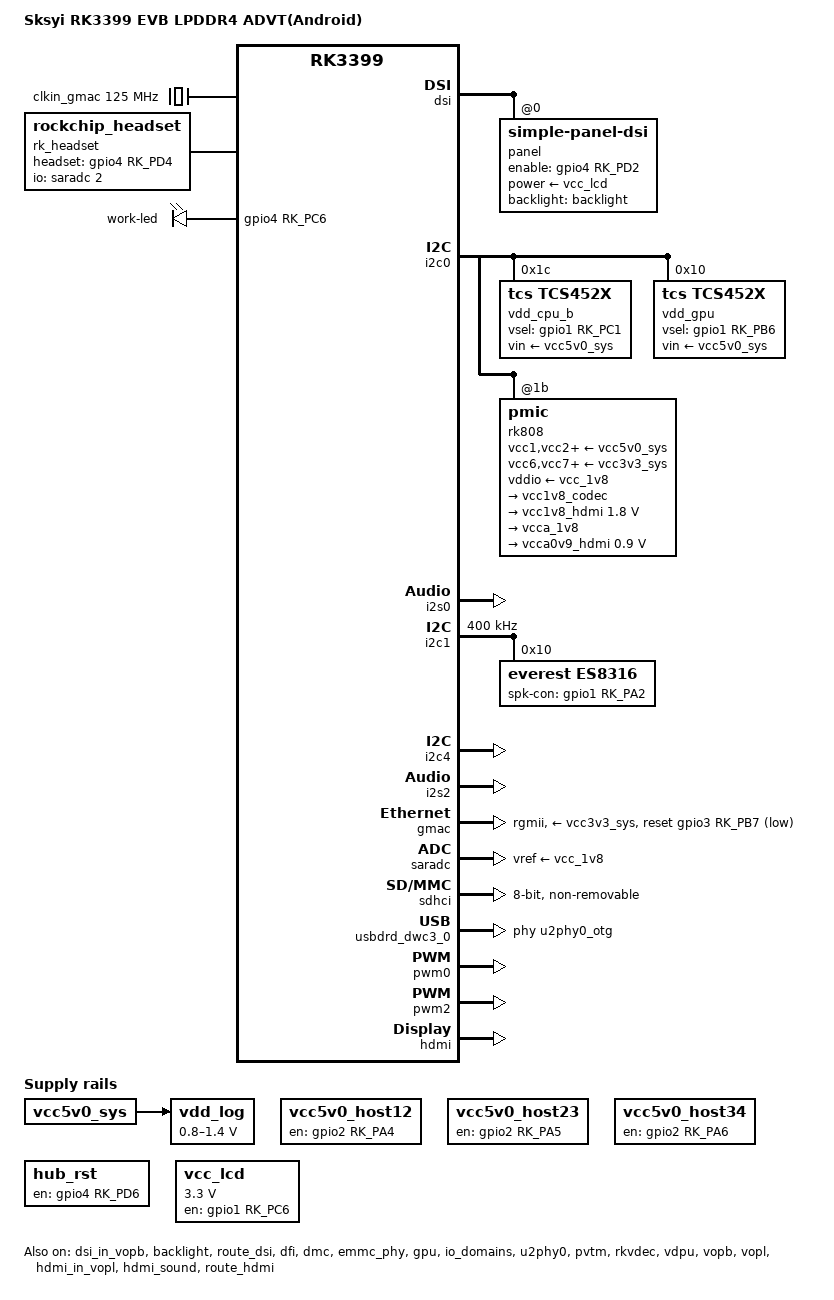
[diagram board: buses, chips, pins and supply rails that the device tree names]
// SPDX-License-Identifier: (GPL-2.0+ OR MIT)
/*
 * Copyright (c) 2018 Skysi Inc. (3399 advt.)
 *		Sanle Zheng <zsl@skysi.com>
 */

/dts-v1/;
#include <dt-bindings/pwm/pwm.h>
#include <dt-bindings/input/input.h>
#include "rk3399.dtsi"
#include "rk3399-opp.dtsi"
#include "rk3399-android.dtsi"
#include "rk3399-excavator-sapphire.dtsi"

/ {
	model = "Sksyi RK3399 EVB LPDDR4 ADVT(Android)";
	compatible = "rockchip,android", "rockchip,rk3399-evb-lp4x-advt", "rockchip,rk3399";

	chosen: chosen {
		bootargs = "earlycon=uart8250,mmio32,0xff1a0000 console=ttyFIQ0 androidboot.baseband=N/A androidboot.veritymode=enforcing androidboot.hardware=rk30board androidboot.console=ttyFIQ0 init=/init initrd=0x62000001,0x00800000 coherent_pool=1m";
	};

	/* first 64k(0xff8c0000~0xff8d0000) for ddr and suspend */
	iram: sram@ff8d0000 {
		compatible = "mmio-sram";
		reg = <0x0 0xff8d0000 0x0 0x20000>; /* 128k */
	};

	vcc5v0_sys: vcc5v0-sys {
		vin-supply = <&dc_12v>;
	};

	vcc3v3_sys: vcc3v3-sys {
		vin-supply = <&dc_12v>;
	};

    vcc5v0_host: vcc5v0-host-regulator {
		gpio = <&gpio1 RK_PA3 GPIO_ACTIVE_HIGH>;
	};

	vcc5v0_host12: vcc5v0-host-12-regulator {
		compatible = "regulator-fixed";
		enable-active-high;
		gpio = <&gpio2 RK_PA4 GPIO_ACTIVE_HIGH>;
		pinctrl-names = "default";
		pinctrl-0 = <&host_vbus_drv_12>;
		regulator-name = "vcc5v0_host12";
		regulator-always-on;
	};

	vcc5v0_host23: vcc5v0-host-23-regulator {
		compatible = "regulator-fixed";
		enable-active-high;
		gpio = <&gpio2 RK_PA5 GPIO_ACTIVE_HIGH>;
		pinctrl-names = "default";
		pinctrl-0 = <&host_vbus_drv_23>;
		regulator-name = "vcc5v0_host23";
		regulator-always-on;
	};

	vcc5v0_host34: vcc5v0-host-34-regulator {
		compatible = "regulator-fixed";
		enable-active-high;
		gpio = <&gpio2 RK_PA6 GPIO_ACTIVE_HIGH>;
		pinctrl-names = "default";
		pinctrl-0 = <&host_vbus_drv_34>;
		regulator-name = "vcc5v0_host34";
		regulator-always-on;
	};

	hub_rst: hub-rst-regulator {
		compatible = "regulator-fixed";
		gpio = <&gpio4 RK_PD6 GPIO_ACTIVE_HIGH>;
		startup-delay-us = <20000>;
		enable-active-high;
		pinctrl-names = "default";
		pinctrl-0 = <&hub_rst_h>;
		regulator-name = "hub_rst";
		regulator-always-on;
		regulator-state-mem {
			regulator-off-in-suspend;
		};
	};

	vcc_lcd: vcc-lcd {
		compatible = "regulator-fixed";
		gpio = <&gpio1 RK_PC6 GPIO_ACTIVE_HIGH>;
		startup-delay-us = <20000>;
		enable-active-high;
		pinctrl-names = "default", "sleep";
		pinctrl-0 = <&vcc_lcd_io>;
		pinctrl-1 = <&vcc_lcd_io_slp>;
		regulator-name = "vcc_lcd";
		regulator-min-microvolt = <3300000>;
		regulator-max-microvolt = <3300000>;
		regulator-boot-on;
		regulator-always-on;
		regulator-state-mem {
			regulator-off-in-suspend;
		};
	};

	vdd_log: vdd-log {
		compatible = "pwm-regulator";
		pwms = <&pwm2 0 25000 1>;
		regulator-name = "vdd_log";
		regulator-min-microvolt = <800000>;
		regulator-max-microvolt = <1400000>;
		regulator-always-on;
		regulator-boot-on;

		/* for rockchip boot on */
		rockchip,pwm_id= <2>;
		rockchip,pwm_voltage = <900000>;

		vin-supply = <&vcc5v0_sys>;
	};

	clkin_gmac: external-gmac-clock {
		compatible = "fixed-clock";
		clock-frequency = <125000000>;
		clock-output-names = "clkin_gmac";
		#clock-cells = <0>;
	};

	rk_headset: rk-headset {
		compatible = "rockchip_headset";
		headset_gpio = <&gpio4 RK_PD4 GPIO_ACTIVE_HIGH>;
		pinctrl-names = "default";
		pinctrl-0 = <&hp_det>;
		io-channels = <&saradc 2>;
	};

	es8316-sound {
		status = "okay";
		compatible = "simple-audio-card";
		simple-audio-card,format = "i2s";
		simple-audio-card,name = "rockchip,es8316-codec";
		simple-audio-card,mclk-fs = <256>;
		simple-audio-card,widgets =
			"Microphone", "Mic Jack",
			"Headphone", "Headphone Jack";
		simple-audio-card,routing =
			"Mic Jack", "MICBIAS1",
			"IN1P", "Mic Jack",
			"Headphone Jack", "HPOL",
			"Headphone Jack", "HPOR";
		simple-audio-card,cpu {
			sound-dai = <&i2s0>;
		};
		simple-audio-card,codec {
			sound-dai = <&es8316>;
		};
	};

	leds {
		compatible = "gpio-leds";
		work-led {
			gpios = <&gpio4 RK_PC6 GPIO_ACTIVE_HIGH>;
			linux,default-trigger = "heartbeat";
			default-state = "on";
		};
	};

	adc_keys {
		/delete-node/ menu-key;
		/delete-node/ home-key;
		/delete-node/ camera-key;
	};

	test-power {
		status = "okay";
	};
};

&dsi_in_vopb {
	status = "okay";
};

&dsi_in_vopl {
	status = "disabled";
};

&backlight {
	status = "okay";
	pwms = <&pwm0 0 200000 0>;
	enable-gpios = <&gpio4 RK_PD5 GPIO_ACTIVE_HIGH>;
};

&dsi {
	status = "okay";
	rockchip,lane-rate = <932>;

	panel@0 {
		status = "okay";
		compatible ="simple-panel-dsi";
		reg = <0>;
		backlight = <&backlight>;
		power-supply = <&vcc_lcd>;
		enable-gpios = <&gpio4 RK_PD2 GPIO_ACTIVE_HIGH>;
		pinctrl-names = "default", "sleep";
		pinctrl-0 = <&lcd_en>;
		pinctrl-1 = <&lcd_en_slp>;
		prepare-delay-ms = <150>;
		reset-delay-ms = <50>;
		init-delay-ms = <200>;
		dsi,flags = <(MIPI_DSI_MODE_VIDEO | MIPI_DSI_MODE_VIDEO_BURST |
				MIPI_DSI_MODE_LPM | MIPI_DSI_MODE_EOT_PACKET)>;
		dsi,format = <MIPI_DSI_FMT_RGB888>;
		dsi,lanes  = <4>;

		panel-init-sequence = [
			23 00 02 27 AA
			23 00 02 48 02
			23 00 02 B6 20
			23 00 02 01 80
			23 00 02 02 38
			23 00 02 03 47
			23 00 02 04 58
			23 00 02 05 2C
			23 00 02 06 94
			23 00 02 07 00
			23 00 02 08 04
			23 00 02 09 05
			23 00 02 0A 24
			23 00 02 0B 82
			23 00 02 0C 13
			23 00 02 0D 01
			23 00 02 0E 80
			23 00 02 0F 20
			23 00 02 10 20
			23 00 02 11 03
			23 00 02 12 1B
			23 00 02 13 63
			23 00 02 14 01
			23 00 02 15 23
			23 00 02 16 40
			23 00 02 17 00
			23 00 02 18 01
			23 00 02 19 23
			23 00 02 1A 40
			23 00 02 1B 00
			23 00 02 1E 46
			23 00 02 51 30
			23 00 02 1F 10
			23 00 02 2A 01
			23 00 02 6A 08
			23 00 02 6C 9E
			23 00 02 6D 07
			23 00 02 6E 00
			23 00 02 6F 8A
			23 00 02 70 19
			23 64 02 71 00
		];

		disp_timings0: display-timings {
			native-mode = <&dsi0_timing0>;

			dsi0_timing0: timing0 {
				clock-frequency = <148500000>;
				hactive = <1920>;
				vactive = <1080>;
				hfront-porch = <88>;
				hsync-len = <44>;
				hback-porch = <148>;
				vfront-porch = <4>;
				vsync-len = <5>;
				vback-porch = <36>;
				hsync-active = <0>;
				vsync-active = <0>;
				de-active = <0>;
				pixelclk-active = <0>;
			};
		};
	};
};

&route_dsi {
	status = "okay";
	connect = <&vopb_out_dsi>;
};

&dmac_bus {
	iram = <&iram>;
	rockchip,force-iram;
};

&cdn_dp {
	status = "disabled";
	phys = <&tcphy0_dp>;
};

&cpu_l0 {
	cpu-supply = <&vdd_cpu_l>;
};

&cpu_l1 {
	cpu-supply = <&vdd_cpu_l>;
};

&cpu_l2 {
	cpu-supply = <&vdd_cpu_l>;
};

&cpu_l3 {
	cpu-supply = <&vdd_cpu_l>;
};

&cpu_b0 {
	cpu-supply = <&vdd_cpu_b>;
};

&cpu_b1 {
	cpu-supply = <&vdd_cpu_b>;
};

&dp_in_vopb {
	status = "disabled";
};

&dfi {
	status = "okay";
};

&dmc {
	status = "okay";
	center-supply = <&vdd_center>;
	upthreshold = <40>;
	downdifferential = <20>;
	system-status-freq = <
		/*system status         freq(KHz)*/
		SYS_STATUS_NORMAL       856000
		SYS_STATUS_REBOOT       856000
		SYS_STATUS_SUSPEND      328000
		SYS_STATUS_VIDEO_1080P  666000
		SYS_STATUS_VIDEO_4K     856000
		SYS_STATUS_VIDEO_4K_10B 856000
		SYS_STATUS_PERFORMANCE  856000
		SYS_STATUS_BOOST        856000
		SYS_STATUS_DUALVIEW     856000
		SYS_STATUS_ISP          856000
	>;
	vop-bw-dmc-freq = <
	/* min_bw(MB/s) max_bw(MB/s) freq(KHz) */
		0       762      416000
		763     3012     666000
		3013    99999    856000
	>;

	vop-pn-msch-readlatency = <
		0	0x20
		4	0x20
	>;

	auto-min-freq = <328000>;
	auto-freq-en = <0>;
};

&dmc_opp_table {
		compatible = "operating-points-v2";

		opp-200000000 {
			opp-hz = /bits/ 64 <200000000>;
			opp-microvolt = <900000>;
			status = "disabled";
		};
		opp-300000000 {
			opp-hz = /bits/ 64 <300000000>;
			opp-microvolt = <900000>;
			status = "disabled";
		};
		opp-328000000 {
			opp-hz = /bits/ 64 <328000000>;
			opp-microvolt = <900000>;
		};
		opp-400000000 {
			opp-hz = /bits/ 64 <400000000>;
			opp-microvolt = <900000>;
			status = "disabled";
		};
		opp-416000000 {
			opp-hz = /bits/ 64 <416000000>;
			opp-microvolt = <900000>;
		};
		opp-528000000 {
			opp-hz = /bits/ 64 <528000000>;
			opp-microvolt = <900000>;
			status = "disabled";
		};
		opp-600000000 {
			opp-hz = /bits/ 64 <600000000>;
			opp-microvolt = <900000>;
			status = "disabled";
		};
		opp-666000000 {
			opp-hz = /bits/ 64 <666000000>;
			opp-microvolt = <900000>;
		};
		opp-800000000 {
			opp-hz = /bits/ 64 <800000000>;
			opp-microvolt = <900000>;
			status = "disabled";
		};
		opp-856000000 {
			opp-hz = /bits/ 64 <856000000>;
			opp-microvolt = <900000>;
		};
		opp-928000000 {
			opp-hz = /bits/ 64 <928000000>;
			opp-microvolt = <900000>;
			status = "disabled";
		};
};

&emmc_phy {
	status = "okay";
};

&i2c0 {
	/delete-node/ regulator@40;
	vdd_cpu_b: tcs452x@1c {
		compatible = "tcs,tcs452x";
		reg = <0x1c>;
		vin-supply = <&vcc5v0_sys>;
		regulator-compatible = "fan53555-reg";
		pinctrl-names = "default";
		pinctrl-0 = <&vsel1_gpio>;
		vsel-gpios = <&gpio1 RK_PC1 GPIO_ACTIVE_HIGH>;
		regulator-name = "vdd_cpu_b";
		regulator-min-microvolt = <712500>;
		regulator-max-microvolt = <1500000>;
		regulator-ramp-delay = <1000>;
		fcs,suspend-voltage-selector = <1>;
		regulator-always-on;
		regulator-boot-on;
		regulator-initial-state = <3>;
			regulator-state-mem {
			regulator-off-in-suspend;
		};
	};

	/delete-node/ regulator@41;
	vdd_gpu: tcs452x@10 {
		compatible = "tcs,tcs452x";
		reg = <0x10>;
		vin-supply = <&vcc5v0_sys>;
		regulator-compatible = "fan53555-reg";
		pinctrl-names = "default";
		pinctrl-0 = <&vsel2_gpio>;
		vsel-gpios = <&gpio1 RK_PB6 GPIO_ACTIVE_HIGH>;
		regulator-name = "vdd_gpu";
		regulator-min-microvolt = <712500>;
		regulator-max-microvolt = <1500000>;
		regulator-ramp-delay = <1000>;
		fcs,suspend-voltage-selector = <1>;
		regulator-always-on;
		regulator-boot-on;
		regulator-initial-state = <3>;
			regulator-state-mem {
			regulator-off-in-suspend;
		};
	};

	rk808: pmic@1b {
		vcc1-supply = <&vcc5v0_sys>;
		vcc2-supply = <&vcc5v0_sys>;
		vcc3-supply = <&vcc5v0_sys>;
		vcc4-supply = <&vcc5v0_sys>;
		vcc6-supply = <&vcc3v3_sys>;
		vcc7-supply = <&vcc3v3_sys>;
		vcc8-supply = <&vcc3v3_sys>;
		vcc9-supply = <&vcc3v3_sys>;
		vcc10-supply = <&vcc3v3_sys>;
		vcc11-supply = <&vcc3v3_sys>;
		vcc12-supply = <&vcc3v3_sys>;
		vddio-supply = <&vcc_1v8>;

		regulators {
			vcc1v8_codec: LDO_REG1 {
				regulator-name = "vcc1v8_codec";
			};

			vcc1v8_hdmi: LDO_REG2 {
				regulator-name = "vcc1v8_hdmi";
				regulator-min-microvolt = <1800000>;
				regulator-max-microvolt = <1800000>;
			};

			vcca_1v8: LDO_REG3 {
				regulator-name = "vcca_1v8";
			};

			vcca0v9_hdmi: LDO_REG7 {
				regulator-name = "vcca0v9_hdmi";
				regulator-min-microvolt = <900000>;
				regulator-max-microvolt = <900000>;
				regulator-state-mem {
					regulator-on-in-suspend;
					regulator-suspend-microvolt = <900000>;
				};
			};
		};
	};
};

&i2s0 {
	status = "okay";
	rockchip,i2s-broken-burst-len;
	rockchip,playback-channels = <8>;
	rockchip,capture-channels = <8>;
	#sound-dai-cells = <0>;
};

&i2c1 {
	status = "okay";
	i2c-scl-rising-time-ns = <300>;
	i2c-scl-falling-time-ns = <15>;
	clock-frequency = <400000>;

	es8316: es8316@10 {
		#sound-dai-cells = <0>;
		compatible = "everest,es8316";
		reg = <0x10>;
		clocks = <&cru SCLK_I2S_8CH_OUT>;
		clock-names = "mclk";
		pinctrl-names = "default";
		pinctrl-0 = <&i2s_8ch_mclk>;
		spk-con-gpios = <&gpio1 RK_PA2 GPIO_ACTIVE_HIGH>;
	};

	/delete-node/ rt5651;
};

&i2c4 {
	status = "okay";
	/delete-node/ fusb30x;
	/delete-node/ mpu6500_acc;
	/delete-node/ mpu6500_gyro;
};

&i2s2 {
	#sound-dai-cells = <0>;
	status = "okay";
};

&gmac {
	phy-supply = <&vcc3v3_sys>;
	phy-mode = "rgmii";
	clock_in_out = "input";
	snps,reset-gpio = <&gpio3 RK_PB7 GPIO_ACTIVE_LOW>;
	snps,reset-active-low;
	snps,reset-delays-us = <0 10000 50000>;
	assigned-clocks = <&cru SCLK_RMII_SRC>;
	assigned-clock-parents = <&clkin_gmac>;
	pinctrl-names = "default", "sleep";
	pinctrl-0 = <&rgmii_pins>;
	pinctrl-1 = <&rgmii_sleep_pins>;
	tx_delay = <0x28>;
	rx_delay = <0x20>;
	status = "okay";
};

&gpu {
	status = "okay";
	mali-supply = <&vdd_gpu>;
};

&io_domains {
	status = "okay";

	bt656-supply = <&vcc_1v8>; /* bt656_gpio2ab_ms */
	audio-supply = <&vcc_1v8>; /* audio_gpio3d4a_ms */
	gpio1830-supply = <&vcc_3v0>; /* gpio1833_gpio4cd_ms */
};

&saradc {
	status = "okay";
    vref-supply = <&vcc_1v8>;
};

&sdhci {
	bus-width = <8>;
	mmc-hs400-1_8v;
	supports-emmc;
	non-removable;
	keep-power-in-suspend;
	mmc-hs400-enhanced-strobe;
	status = "okay";
};

&spdif {
	status = "disabled";
};

&tcphy0 {
	/delete-property/ extcon;
	status = "disabled";
};

&u2phy0 {
	status = "okay";
	/delete-property/ extcon;
};

&uart0 {
	pinctrl-names = "default";
	pinctrl-0 = <&uart0_xfer &uart0_cts>;
	status = "disabled";
};

&uart2 {
	status = "disabled";
};

&usbdrd_dwc3_0 {
	extcon = <&u2phy0>;
	maximum-speed = "high-speed";
	phys = <&u2phy0_otg>;
	phy-names = "usb2-phy";
	status = "okay";
};

&pwm0 {
	status = "okay";
};

&pwm2 {
	status = "okay";
	pinctrl-names = "active";
	pinctrl-0 = <&pwm2_pin_pull_down>;
};

&pinctrl {
	gmac {
		rgmii_sleep_pins: rgmii-sleep-pins {
			rockchip,pins =
				<3 RK_PB7 RK_FUNC_GPIO &pcfg_output_low>;
		};
	};

	headphone {
		hp_det: hp-det {
			rockchip,pins =
				<4 RK_PD4 RK_FUNC_GPIO &pcfg_pull_none>;
		};
	};

	usb2 {
		host_vbus_drv: host-vbus-drv {
			rockchip,pins =
				<1 RK_PA3 RK_FUNC_GPIO &pcfg_pull_none>;
		};

		host_vbus_drv_12: host-vbus-drv-12 {
			rockchip,pins =
				<2 RK_PA4 RK_FUNC_GPIO &pcfg_pull_none>;
		};

		host_vbus_drv_23: host-vbus-drv-23 {
			rockchip,pins =
				<2 RK_PA5 RK_FUNC_GPIO &pcfg_pull_none>;
		};

		host_vbus_drv_34: host-vbus-drv-34 {
			rockchip,pins =
				<2 RK_PA6 RK_FUNC_GPIO &pcfg_pull_none>;
		};

		hub_rst_h: hub-rst-h {
			rockchip,pins =
				<4 RK_PD6 RK_FUNC_GPIO &pcfg_pull_none>;
		};
	};

	lcd-panel {
		lcd_en: lcd-en {
			rockchip,pins = <4 RK_PD2 RK_FUNC_GPIO &pcfg_pull_none>;
		};

		lcd_en_slp: lcd-en-slp {
			rockchip,pins = <4 RK_PD2 RK_FUNC_GPIO &pcfg_output_low>;
		};

		vcc_lcd_io: vcc-lcd-io {
			rockchip,pins = <1 RK_PC6 RK_FUNC_GPIO &pcfg_pull_none>;
		};

		vcc_lcd_io_slp: vcc-lcd-io-slp {
			rockchip,pins = <1 RK_PC6 RK_FUNC_GPIO &pcfg_output_low>;
		};
	};
};

&pvtm {
	status = "okay";
};

&pmu_pvtm {
	status = "okay";
};

&pmu_io_domains {
	status = "okay";
	pmu1830-supply = <&vcc_1v8>;
};

&rockchip_suspend {
	status = "okay";
	rockchip,sleep-debug-en = <0>;
	rockchip,sleep-mode-config = <
		(0
		| RKPM_SLP_ARMPD
		| RKPM_SLP_PERILPPD
		| RKPM_SLP_DDR_RET
		| RKPM_SLP_PLLPD
		| RKPM_SLP_CENTER_PD
		| RKPM_SLP_AP_PWROFF
		)
	>;
	rockchip,wakeup-config = <
		(0
		| RKPM_GPIO_WKUP_EN
		| RKPM_PWM_WKUP_EN
		)
	>;
	rockchip,pwm-regulator-config = <
		(0
		| PWM2_REGULATOR_EN
		)
	>;
	rockchip,power-ctrl =
		<&gpio1 RK_PC1 GPIO_ACTIVE_HIGH>,
		<&gpio1 RK_PB6 GPIO_ACTIVE_HIGH>;
};

&rkvdec {
	status = "okay";
};

&rkvdec_mmu {
	status = "okay";
};

&vdpu {
	status = "okay";
};

&vpu_mmu {
	status = "okay";
};

&vopb {
	status = "okay";
	assigned-clocks = <&cru DCLK_VOP0_DIV>;
	assigned-clock-parents = <&cru PLL_CPLL>;
};

&vopl {
	status = "okay";
	assigned-clocks = <&cru DCLK_VOP1_DIV>;
	assigned-clock-parents = <&cru PLL_VPLL>;
};

&hdmi_in_vopl {
	status = "okay";
};

&hdmi_in_vopb {
	status = "disabled";
};

&hdmi {
	status = "okay";
};

&hdmi_sound {
	status = "okay";
};

&route_hdmi {
	status = "okay";
	connect = <&vopl_out_hdmi>;
};
